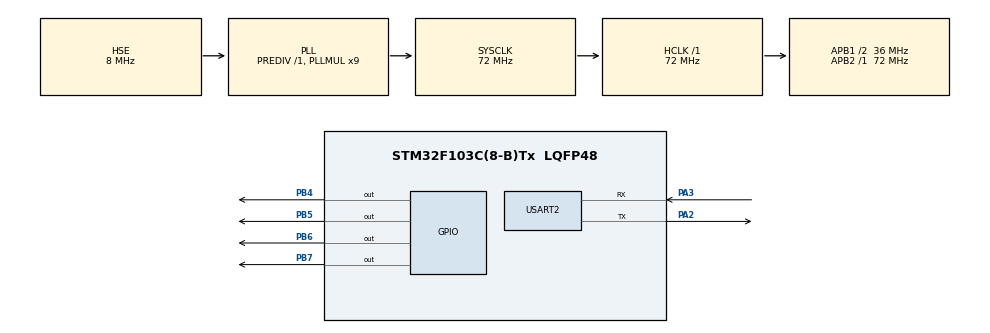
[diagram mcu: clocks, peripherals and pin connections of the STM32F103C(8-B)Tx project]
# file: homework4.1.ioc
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Dma.Request0=USART2_RX
Dma.Request1=USART2_TX
Dma.USART2_RX.0.Direction=DMA_PERIPH_TO_MEMORY
Dma.USART2_RX.0.Instance=DMA1_Channel6
Dma.USART2_RX.0.MemDataAlignment=DMA_MDATAALIGN_BYTE
Dma.USART2_RX.0.MemInc=DMA_MINC_ENABLE
Dma.USART2_RX.0.Mode=DMA_CIRCULAR
Dma.USART2_RX.0.PeriphDataAlignment=DMA_PDATAALIGN_BYTE
Dma.USART2_RX.0.PeriphInc=DMA_PINC_DISABLE
Dma.USART2_RX.0.Priority=DMA_PRIORITY_MEDIUM
Dma.USART2_TX.1.Direction=DMA_MEMORY_TO_PERIPH
Dma.USART2_TX.1.Instance=DMA1_Channel7
Dma.USART2_TX.1.MemDataAlignment=DMA_MDATAALIGN_BYTE
Dma.USART2_TX.1.MemInc=DMA_MINC_ENABLE
Dma.USART2_TX.1.Mode=DMA_NORMAL
Dma.USART2_TX.1.PeriphDataAlignment=DMA_PDATAALIGN_BYTE
Dma.USART2_TX.1.PeriphInc=DMA_PINC_DISABLE
Dma.USART2_TX.1.Priority=DMA_PRIORITY_MEDIUM
Mcu.Family=STM32F1
Mcu.Name=STM32F103C(8-B)Tx
Mcu.Package=LQFP48
NVIC.DMA1_Channel6_IRQn=true\:0\:0\:false\:false\:true\:false\:true\:true
NVIC.DMA1_Channel7_IRQn=true\:0\:0\:false\:false\:true\:false\:true\:true
NVIC.PriorityGroup=NVIC_PRIORITYGROUP_4
NVIC.USART2_IRQn=true\:0\:0\:false\:false\:true\:false\:true\:true
PA13.Mode=Serial_Wire
PA13.Signal=SYS_JTMS-SWDIO
PA14.Mode=Serial_Wire
PA14.Signal=SYS_JTCK-SWCLK
PA2.Mode=Asynchronous
PA2.Signal=USART2_TX
PA3.Mode=Asynchronous
PA3.Signal=USART2_RX
PB4.GPIO_PuPd=GPIO_PULLDOWN
PB4.Signal=GPIO_Output
PB5.GPIO_PuPd=GPIO_PULLDOWN
PB5.Signal=GPIO_Output
PB6.GPIO_PuPd=GPIO_PULLDOWN
PB6.Signal=GPIO_Output
PB7.GPIO_PuPd=GPIO_PULLDOWN
PB7.Signal=GPIO_Output
PD0-OSC_IN.Mode=HSE-External-Oscillator
PD0-OSC_IN.Signal=RCC_OSC_IN
PD1-OSC_OUT.Mode=HSE-External-Oscillator
PD1-OSC_OUT.Signal=RCC_OSC_OUT
ProjectManager.HeapSize=0x200
ProjectManager.StackSize=0x400
ProjectManager.TargetToolchain=MDK-ARM V5.32
RCC.AHBFreq_Value=72000000
RCC.APB1CLKDivider=RCC_HCLK_DIV2
RCC.APB1Freq_Value=36000000
RCC.APB1TimFreq_Value=72000000
RCC.APB2Freq_Value=72000000
RCC.APB2TimFreq_Value=72000000
RCC.HCLKFreq_Value=72000000
RCC.PLLMUL=RCC_PLL_MUL9
RCC.PLLSourceVirtual=RCC_PLLSOURCE_HSE
RCC.SYSCLKFreq_VALUE=72000000
RCC.SYSCLKSource=RCC_SYSCLKSOURCE_PLLCLK
RCC.USBFreq_Value=72000000
USART2.VirtualMode=VM_ASYNC
board=custom

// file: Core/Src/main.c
/* USER CODE BEGIN Header */
/**
  ******************************************************************************
  * @file           : main.c
  * @brief          : Main program body
  ******************************************************************************
  * @attention
  *
  * Copyright (c) 2025 STMicroelectronics.
  * All rights reserved.
  *
  * This software is licensed under terms that can be found in the LICENSE file
  * in the root directory of this software component.
  * If no LICENSE file comes with this software, it is provided AS-IS.
  *
  ******************************************************************************
  */
/* USER CODE END Header */
#include "main.h"
#include "dma.h"
#include "usart.h"
#include "gpio.h"

/* USER CODE BEGIN Includes */
#include <string.h>
/* USER CODE END Includes */

/* USER CODE BEGIN PTD */
#define DMA1_BASE_ADDR 0X40020000
#define DMA1_ISR *(volatile uint32_t *)(DMA1_BASE_ADDR+0X00)
#define DMA1_IFCR *(volatile uint32_t *)(DMA1_BASE_ADDR+0X04)
#define TCIF6_BIT (1 << 5)
#define CTCIF6_BIT (1 << 5)
/* USER CODE END PTD */

/* USER CODE BEGIN PV */
uint8_t rx_buf[4] = {0};

/* USER CODE END PV */

void SystemClock_Config(void);
/* USER CODE BEGIN PFP */
void parse_usart_protocol(uint8_t *buf){
	uint16_t cmd_id = (buf[1] << 8) | buf[0];
	if(cmd_id != 0X0101) return;
	uint8_t led_ctrl = buf[2] & 0X0F;
	HAL_GPIO_WritePin(GPIOB,GPIO_PIN_4,(led_ctrl & 0X01) ? GPIO_PIN_SET : GPIO_PIN_RESET);
	HAL_GPIO_WritePin(GPIOB,GPIO_PIN_5,(led_ctrl & 0X02) ? GPIO_PIN_SET : GPIO_PIN_RESET);
	HAL_GPIO_WritePin(GPIOB,GPIO_PIN_6,(led_ctrl & 0X04) ? GPIO_PIN_SET : GPIO_PIN_RESET);
}
void HAL_UART_RxCpltCallback(UART_HandleTypeDef *huart){
	if(huart == &huart2){
		parse_usart_protocol(rx_buf);
		HAL_GPIO_TogglePin(GPIOB,GPIO_PIN_7);
		HAL_UART_Receive_DMA(&huart2,rx_buf,sizeof(rx_buf));
	}
}
/* USER CODE END PFP */

int main(void)
{

  /* MCU Configuration--------------------------------------------------------*/

  /* Reset of all peripherals, Initializes the Flash interface and the Systick. */
  HAL_Init();

  /* Configure the system clock */
  SystemClock_Config();

  /* Initialize all configured peripherals */
  MX_GPIO_Init();
  MX_DMA_Init();
  MX_USART2_UART_Init();
  /* USER CODE BEGIN 2 */
	HAL_UART_Receive_DMA(&huart2,rx_buf,sizeof(rx_buf));
  /* USER CODE END 2 */

  /* Infinite loop */
  /* USER CODE BEGIN WHILE */
  while (1)
  {
		if(__HAL_DMA_GET_FLAG(&hdma_usart2_rx,DMA_FLAG_TC6)){
			parse_usart_protocol(rx_buf);
			HAL_GPIO_TogglePin(GPIOB,GPIO_PIN_7);
			__HAL_DMA_CLEAR_FLAG(&hdma_usart2_rx,DMA_FLAG_TC6);
			while(__HAL_DMA_GET_COUNTER(&hdma_usart2_rx) == 0);
			HAL_UART_Receive_DMA(&huart2,rx_buf,sizeof(rx_buf));
		}
    /* USER CODE END WHILE */

  }
}

void SystemClock_Config(void)
{
  RCC_OscInitTypeDef RCC_OscInitStruct = {0};
  RCC_ClkInitTypeDef RCC_ClkInitStruct = {0};

  /** Initializes the RCC Oscillators according to the specified parameters
  * in the RCC_OscInitTypeDef structure.
  */
  RCC_OscInitStruct.OscillatorType = RCC_OSCILLATORTYPE_HSE;
  RCC_OscInitStruct.HSEState = RCC_HSE_ON;
  RCC_OscInitStruct.HSEPredivValue = RCC_HSE_PREDIV_DIV1;
  RCC_OscInitStruct.HSIState = RCC_HSI_ON;
  RCC_OscInitStruct.PLL.PLLState = RCC_PLL_ON;
  RCC_OscInitStruct.PLL.PLLSource = RCC_PLLSOURCE_HSE;
  RCC_OscInitStruct.PLL.PLLMUL = RCC_PLL_MUL9;
  if (HAL_RCC_OscConfig(&RCC_OscInitStruct) != HAL_OK)
  {
    Error_Handler();
  }

  /** Initializes the CPU, AHB and APB buses clocks
  */
  RCC_ClkInitStruct.ClockType = RCC_CLOCKTYPE_HCLK|RCC_CLOCKTYPE_SYSCLK
                              |RCC_CLOCKTYPE_PCLK1|RCC_CLOCKTYPE_PCLK2;
  RCC_ClkInitStruct.SYSCLKSource = RCC_SYSCLKSOURCE_PLLCLK;
  RCC_ClkInitStruct.AHBCLKDivider = RCC_SYSCLK_DIV1;
  RCC_ClkInitStruct.APB1CLKDivider = RCC_HCLK_DIV2;
  RCC_ClkInitStruct.APB2CLKDivider = RCC_HCLK_DIV1;

  if (HAL_RCC_ClockConfig(&RCC_ClkInitStruct, FLASH_LATENCY_2) != HAL_OK)
  {
    Error_Handler();
  }
}

void Error_Handler(void)
{
  __disable_irq();
  while (1)
  {
  }
}
